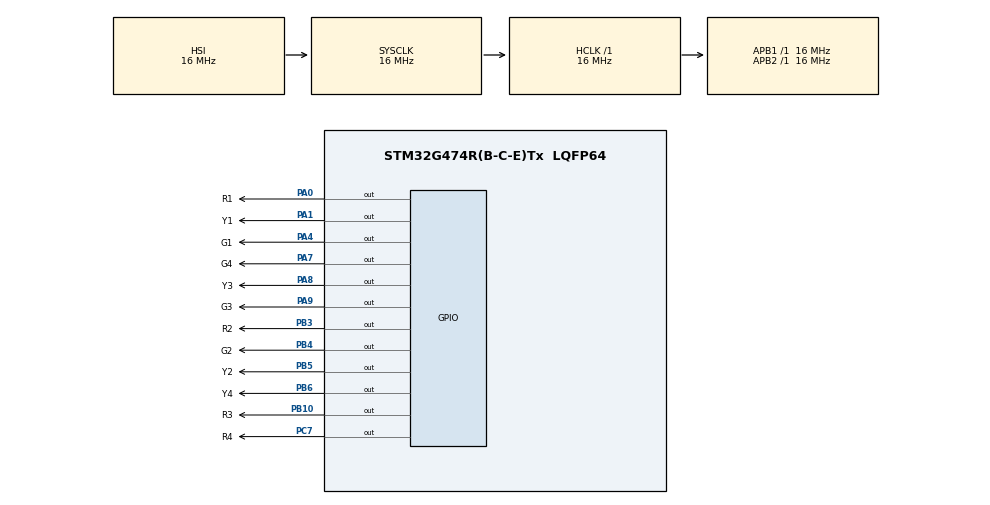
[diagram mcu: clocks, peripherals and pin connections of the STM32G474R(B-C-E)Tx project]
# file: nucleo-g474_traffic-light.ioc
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Mcu.Family=STM32G4
Mcu.Name=STM32G474R(B-C-E)Tx
Mcu.Package=LQFP64
NVIC.PriorityGroup=NVIC_PRIORITYGROUP_4
NVIC.TIM2_IRQn=true\:0\:0\:false\:false\:true\:true\:true\:true
PA0.GPIO_Label=R1
PA0.Signal=GPIO_Output
PA1.GPIO_Label=Y1
PA1.Signal=GPIO_Output
PA13.GPIO_Label=T_SWDIO
PA13.Signal=SYS_JTMS-SWDIO
PA14.GPIO_Label=T_SWCLK
PA14.Signal=SYS_JTCK-SWCLK
PA4.GPIO_Label=G1
PA4.Signal=GPIO_Output
PA7.GPIO_Label=G4
PA7.Signal=GPIO_Output
PA8.GPIO_Label=Y3
PA8.Signal=GPIO_Output
PA9.GPIO_Label=G3
PA9.Signal=GPIO_Output
PB10.GPIO_Label=R3
PB10.Signal=GPIO_Output
PB3.GPIO_Label=R2
PB3.Signal=GPIO_Output
PB4.GPIO_Label=G2
PB4.Signal=GPIO_Output
PB5.GPIO_Label=Y2
PB5.Signal=GPIO_Output
PB6.GPIO_Label=Y4
PB6.Signal=GPIO_Output
PC14-OSC32_IN.Signal=RCC_OSC32_IN
PC15-OSC32_OUT.Signal=RCC_OSC32_OUT
PC7.GPIO_Label=R4
PC7.Signal=GPIO_Output
PF0-OSC_IN.Signal=RCC_OSC_IN
PF1-OSC_OUT.Signal=RCC_OSC_OUT
ProjectManager.HeapSize=0x200
ProjectManager.StackSize=0x400
ProjectManager.TargetToolchain=STM32CubeIDE
RCC.ADC12Freq_Value=16000000
RCC.ADC345Freq_Value=16000000
RCC.AHBFreq_Value=16000000
RCC.APB1Freq_Value=16000000
RCC.APB1TimFreq_Value=16000000
RCC.APB2Freq_Value=16000000
RCC.APB2TimFreq_Value=16000000
RCC.CortexFreq_Value=16000000
RCC.EXTERNAL_CLOCK_VALUE=12288000
RCC.HCLKFreq_Value=16000000
RCC.HSE_VALUE=24000000
RCC.HSI48_VALUE=48000000
RCC.HSI_VALUE=16000000
RCC.LSE_VALUE=32768
RCC.PLLM=RCC_PLLM_DIV4
RCC.PLLN=85
RCC.RTCClockSelection=RCC_RTCCLKSOURCE_LSE
RCC.SYSCLKFreq_VALUE=16000000
RCC.USBFreq_Value=170000000
RCC.VCOOutputFreq_Value=340000000
TIM2.PeriodNoDither=1000-1
TIM2.Prescaler=16-1
VP_SYS_VS_DBSignals.Mode=DisableDeadBatterySignals
VP_TIM2_VS_ClockSourceINT.Mode=Internal
board=NUCLEO-G474RE

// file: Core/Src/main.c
/* USER CODE BEGIN Header */
/**
  ******************************************************************************
  * @file           : main.c
  * @brief          : Main program body
  ******************************************************************************
  * @attention
  *
  * Copyright (c) 2023 STMicroelectronics.
  * All rights reserved.
  *
  * This software is licensed under terms that can be found in the LICENSE file
  * in the root directory of this software component.
  * If no LICENSE file comes with this software, it is provided AS-IS.
  *
  ******************************************************************************
  */
/* USER CODE END Header */
#include "main.h"
#include "tim.h"
#include "gpio.h"

/* USER CODE BEGIN Includes */
#include <stdbool.h>
/* USER CODE END Includes */

/* USER CODE BEGIN PV */
uint16_t miliseconds = 0;

uint16_t greenMillis = 0;
uint16_t yellowMillis = 0;
uint16_t redMillis = 0;

bool greenStatus = false;
bool yellowStatus = false;
bool redStatus = false;

uint8_t directionsIndex = 0;

// Traffic Light Configuration
const uint16_t greenDuration = 5000;                // Change this value for set duration of green light
const uint16_t yellowDuration = 2000;               // Change this value for set duration of yellow light
const uint16_t offset = 3000;                       // Change this value to set the offset between traffic lights

uint8_t directions[4] = {1,2,3,4};  // This variable is to change the sequence of traffic lights that will be executed
/* USER CODE END PV */

void SystemClock_Config(void);
/* USER CODE BEGIN PFP */
void redToGreen(uint8_t direction);
void greenToYellow(uint8_t direction);
void yellowToRed(uint8_t direction);
void initTrafficLightLED(void);
bool timeForExecution(uint16_t timeNow, uint16_t timeAfter, uint16_t duration);
uint16_t Millis(void);
/* USER CODE END PFP */

int main(void)
{

  /* MCU Configuration--------------------------------------------------------*/

  /* Reset of all peripherals, Initializes the Flash interface and the Systick. */
  HAL_Init();

  /* Configure the system clock */
  SystemClock_Config();

  /* Initialize all configured peripherals */
  MX_GPIO_Init();
  MX_TIM2_Init();
  /* USER CODE BEGIN 2 */
  HAL_TIM_Base_Start_IT(&htim2);
  initTrafficLightLED();
  /* USER CODE END 2 */

  /* Infinite loop */
  /* USER CODE BEGIN WHILE */
  while (1)
  {
      uint16_t timeNow = Millis();

      if(!greenStatus && !yellowStatus && !redStatus){
          greenMillis = Millis();
          greenStatus = true;

          redToGreen(directions[directionsIndex]);
      }

      if(timeForExecution(timeNow, redMillis, offset) && redStatus){
          greenMillis = Millis();
          redStatus = false;
          greenStatus = true;

          redToGreen(directions[directionsIndex]);
      }

      if(timeForExecution(timeNow, greenMillis, greenDuration) && greenStatus){
          yellowMillis = Millis();
          greenStatus = false;
          yellowStatus = true;

          greenToYellow(directions[directionsIndex]);
      }

      if(timeForExecution(timeNow, yellowMillis, yellowDuration) && yellowStatus){
          redMillis = Millis();
          yellowStatus = false;
          redStatus = true;

          yellowToRed(directions[directionsIndex]);

          directionsIndex++;
          if (directionsIndex >= 4){
              directionsIndex = 0;
          }
      }
    /* USER CODE END WHILE */

  }
}

void SystemClock_Config(void)
{
  RCC_OscInitTypeDef RCC_OscInitStruct = {0};
  RCC_ClkInitTypeDef RCC_ClkInitStruct = {0};

  /** Configure the main internal regulator output voltage
  */
  HAL_PWREx_ControlVoltageScaling(PWR_REGULATOR_VOLTAGE_SCALE1);

  /** Initializes the RCC Oscillators according to the specified parameters
  * in the RCC_OscInitTypeDef structure.
  */
  RCC_OscInitStruct.OscillatorType = RCC_OSCILLATORTYPE_HSI;
  RCC_OscInitStruct.HSIState = RCC_HSI_ON;
  RCC_OscInitStruct.HSICalibrationValue = RCC_HSICALIBRATION_DEFAULT;
  RCC_OscInitStruct.PLL.PLLState = RCC_PLL_NONE;
  if (HAL_RCC_OscConfig(&RCC_OscInitStruct) != HAL_OK)
  {
    Error_Handler();
  }

  /** Initializes the CPU, AHB and APB buses clocks
  */
  RCC_ClkInitStruct.ClockType = RCC_CLOCKTYPE_HCLK|RCC_CLOCKTYPE_SYSCLK
                              |RCC_CLOCKTYPE_PCLK1|RCC_CLOCKTYPE_PCLK2;
  RCC_ClkInitStruct.SYSCLKSource = RCC_SYSCLKSOURCE_HSI;
  RCC_ClkInitStruct.AHBCLKDivider = RCC_SYSCLK_DIV1;
  RCC_ClkInitStruct.APB1CLKDivider = RCC_HCLK_DIV1;
  RCC_ClkInitStruct.APB2CLKDivider = RCC_HCLK_DIV1;

  if (HAL_RCC_ClockConfig(&RCC_ClkInitStruct, FLASH_LATENCY_0) != HAL_OK)
  {
    Error_Handler();
  }
}

/* USER CODE BEGIN 4 */
void redToGreen(uint8_t direction){
    switch (direction) {
        case 1:
            HAL_GPIO_WritePin(R1_GPIO_Port, R1_Pin, GPIO_PIN_RESET);
            HAL_GPIO_WritePin(G1_GPIO_Port, G1_Pin, GPIO_PIN_SET);

            HAL_GPIO_WritePin(R2_GPIO_Port, R2_Pin, GPIO_PIN_SET);
            HAL_GPIO_WritePin(R3_GPIO_Port, R3_Pin, GPIO_PIN_SET);
            HAL_GPIO_WritePin(R4_GPIO_Port, R4_Pin, GPIO_PIN_SET);

            break;
        case 2:
            HAL_GPIO_WritePin(R2_GPIO_Port, R2_Pin, GPIO_PIN_RESET);
            HAL_GPIO_WritePin(G2_GPIO_Port, G2_Pin, GPIO_PIN_SET);

            HAL_GPIO_WritePin(R1_GPIO_Port, R1_Pin, GPIO_PIN_SET);
            HAL_GPIO_WritePin(R3_GPIO_Port, R3_Pin, GPIO_PIN_SET);
            HAL_GPIO_WritePin(R4_GPIO_Port, R4_Pin, GPIO_PIN_SET);

            break;
        case 3:
            HAL_GPIO_WritePin(R3_GPIO_Port, R3_Pin, GPIO_PIN_RESET);
            HAL_GPIO_WritePin(G3_GPIO_Port, G3_Pin, GPIO_PIN_SET);

            HAL_GPIO_WritePin(R1_GPIO_Port, R1_Pin, GPIO_PIN_SET);
            HAL_GPIO_WritePin(R2_GPIO_Port, R2_Pin, GPIO_PIN_SET);
            HAL_GPIO_WritePin(R4_GPIO_Port, R4_Pin, GPIO_PIN_SET);

            break;
        case 4:
            HAL_GPIO_WritePin(R4_GPIO_Port, R4_Pin, GPIO_PIN_RESET);
            HAL_GPIO_WritePin(G4_GPIO_Port, G4_Pin, GPIO_PIN_SET);

            HAL_GPIO_WritePin(R1_GPIO_Port, R1_Pin, GPIO_PIN_SET);
            HAL_GPIO_WritePin(R2_GPIO_Port, R2_Pin, GPIO_PIN_SET);
            HAL_GPIO_WritePin(R3_GPIO_Port, R3_Pin, GPIO_PIN_SET);

            break;
        default:
            break;
    }
};

void greenToYellow(uint8_t direction){
    switch (direction) {
        case 1:
            HAL_GPIO_WritePin(G1_GPIO_Port, G1_Pin, GPIO_PIN_RESET);
            HAL_GPIO_WritePin(Y1_GPIO_Port, Y1_Pin, GPIO_PIN_SET);

            break;
        case 2:
            HAL_GPIO_WritePin(G2_GPIO_Port, G2_Pin, GPIO_PIN_RESET);
            HAL_GPIO_WritePin(Y2_GPIO_Port, Y2_Pin, GPIO_PIN_SET);

            break;
        case 3:
            HAL_GPIO_WritePin(G3_GPIO_Port, G3_Pin, GPIO_PIN_RESET);
            HAL_GPIO_WritePin(Y3_GPIO_Port, Y3_Pin, GPIO_PIN_SET);

            break;
        case 4:
            HAL_GPIO_WritePin(G4_GPIO_Port, G4_Pin, GPIO_PIN_RESET);
            HAL_GPIO_WritePin(Y4_GPIO_Port, Y4_Pin, GPIO_PIN_SET);

            break;
        default:
            break;
    }
};

void yellowToRed(uint8_t direction){
    switch (direction) {
        case 1:
            HAL_GPIO_WritePin(Y1_GPIO_Port, Y1_Pin, GPIO_PIN_RESET);
            HAL_GPIO_WritePin(R1_GPIO_Port, R1_Pin, GPIO_PIN_SET);

            break;
        case 2:
            HAL_GPIO_WritePin(Y2_GPIO_Port, Y2_Pin, GPIO_PIN_RESET);
            HAL_GPIO_WritePin(R2_GPIO_Port, R2_Pin, GPIO_PIN_SET);

            break;
        case 3:
            HAL_GPIO_WritePin(Y3_GPIO_Port, Y3_Pin, GPIO_PIN_RESET);
            HAL_GPIO_WritePin(R3_GPIO_Port, R3_Pin, GPIO_PIN_SET);

            break;
        case 4:
            HAL_GPIO_WritePin(Y4_GPIO_Port, Y4_Pin, GPIO_PIN_RESET);
            HAL_GPIO_WritePin(R4_GPIO_Port, R4_Pin, GPIO_PIN_SET);

            break;
        default:
            break;
    }
};

void initTrafficLightLED(void){
    // Turn on red light all directions
    HAL_GPIO_WritePin(R1_GPIO_Port, R1_Pin, GPIO_PIN_SET);
    HAL_GPIO_WritePin(R2_GPIO_Port, R2_Pin, GPIO_PIN_SET);
    HAL_GPIO_WritePin(R3_GPIO_Port, R3_Pin, GPIO_PIN_SET);
    HAL_GPIO_WritePin(R4_GPIO_Port, R4_Pin, GPIO_PIN_SET);

    HAL_Delay(5000);
};

uint16_t Millis(void)
{
    return miliseconds;
}

bool timeForExecution(uint16_t timeNow, uint16_t timeAfter,uint16_t duration) {
    return (timeNow >= timeAfter) && (timeNow - timeAfter >= duration) ||                   // validate if time elapsed equal or greater than duration
            (timeNow < timeAfter) && (timeNow + (UINT16_MAX - timeAfter) >= duration);      // validate if the millis value has overflowed
};

void HAL_TIM_PeriodElapsedCallback(TIM_HandleTypeDef *htim)
{
    if (htim == &htim2)
    {
        miliseconds++;
    }
}
/* USER CODE END 4 */

void Error_Handler(void)
{
  __disable_irq();
  while (1)
  {
  }
}
